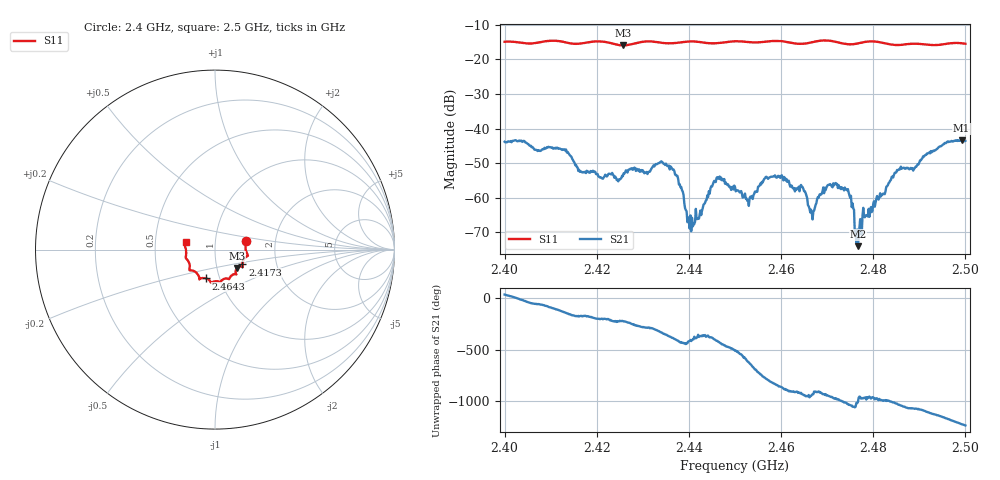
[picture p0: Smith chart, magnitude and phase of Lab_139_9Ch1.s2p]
# Hz S RI R 50
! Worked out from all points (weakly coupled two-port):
!   601 points, 2.4 GHz to 2.5 GHz, reference 50 ohm
!   highest |S21| = -43.34 dB at 2.4992 GHz (marker M1); lowest = -74.0 dB at 2.4767 GHz (marker M2)
!   lowest |S11| = -15.9 dB at 2.4257 GHz (marker M3), VSWR 1.38, Z = 62.4 - j13.1 ohm
!   |S11| at or under -10 dB: start of sweep to end of sweep
!   S12 and S22 are empty: the file has one direction only
!   S11 on the Smith chart (normalised r, x): 2.4 GHz: 1.41, +0.14; 2.4173 GHz: 1.34, -0.23; 2.4643 GHz: 0.86, -0.28; 2.5 GHz: 0.72, +0.06
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2.4e9  0.1734 0.0494  0.00531 0.00368  0 0  0 0
2.412833e9  0.1745 -0.0393  -0.00352 -0.00352  0 0  0 0
2.416667e9  0.153 -0.075  -0.00236 -0.000336  0 0  0 0
2.417333e9  0.1524 -0.0825  -0.00231 -0.000345  0 0  0 0
2.425667e9  0.1226 -0.1025  -0.00151 0.00139  0 0  0 0
2.433333e9  0.1126 -0.1365  0.00234 0.00213  0 0  0 0
2.437167e9  0.0866 -0.15  0.00159 -0.00145  0 0  0 0
2.440667e9  0.0787 -0.1643  0.000359 -0.000367  0 0  0 0
2.445833e9  0.0484 -0.1645  0.00115 -0.00125  0 0  0 0
2.45e9  0.0296 -0.1807  -0.00123 -0.000737  0 0  0 0
2.453e9  0.0174 -0.1773  -0.000114 0.000755  0 0  0 0
2.458333e9  -0.0196 -0.1841  -0.00052 -0.00197  0 0  0 0
2.464333e9  -0.0502 -0.1604  -0.00147 0.000437  0 0  0 0
2.466667e9  -0.0762 -0.1597  -0.000487 0.000365  0 0  0 0
2.469667e9  -0.0877 -0.1665  -0.00112 0.000627  0 0  0 0
2.472e9  -0.0876 -0.156  -0.000493 0.00149  0 0  0 0
2.474667e9  -0.1033 -0.1293  0.000809 0.000872  0 0  0 0
2.476667e9  -0.1235 -0.1174  6.02e-05 0.00019  0 0  0 0
2.483333e9  -0.1409 -0.0894  4.2e-05 0.00163  0 0  0 0
2.485667e9  -0.1479 -0.0657  0.00176 0.00193  0 0  0 0
2.499167e9  -0.1677 0.0368  -0.00519 -0.00441  0 0  0 0
2.5e9  -0.1634 0.0417  -0.00591 -0.00308  0 0  0 0
